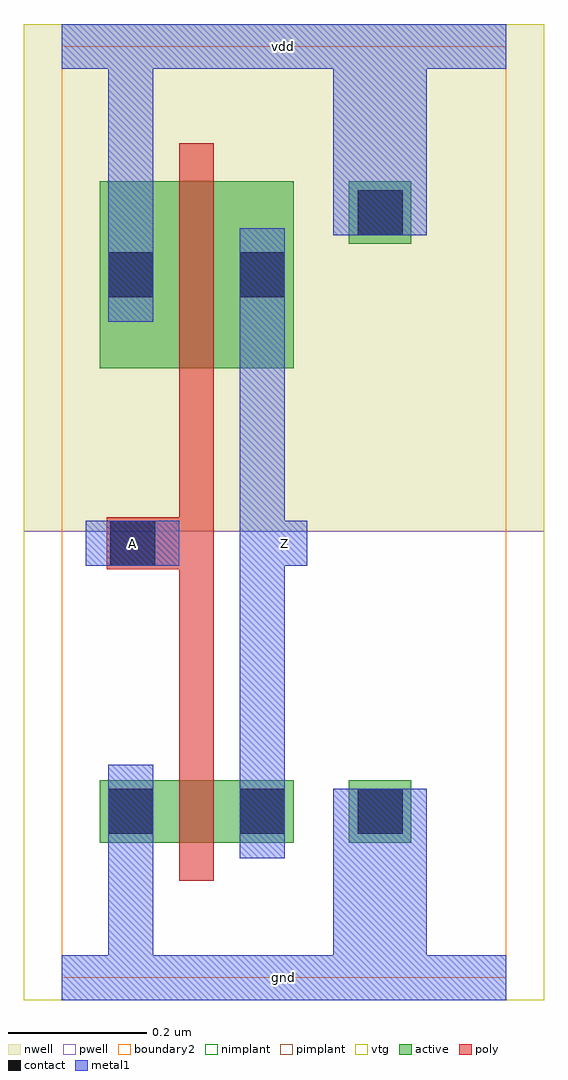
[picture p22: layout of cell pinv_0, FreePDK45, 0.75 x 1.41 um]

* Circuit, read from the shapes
.subckt pinv_0 A Z gnd vdd
M1 Z A gnd gnd nfet w=0.09u l=0.05u
M2 Z A vdd vdd pfet w=0.27u l=0.05u
.ends

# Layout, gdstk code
import gdstk
lib = gdstk.Library(unit=1e-6, precision=5e-10)
def R(c, l, rs):  # rectangles x0, y0, x1, y1
    for r in rs: c.add(gdstk.rectangle(r[:2], r[2:], *l))
active = (1, 0)
pwell = (2, 0)
nwell = (3, 0)
nimplant = (4, 0)
pimplant = (5, 0)
vtg = (6, 0)
poly = (9, 0)
contact = (10, 0)
metal1 = (11, 0)
boundary2 = (239, 0)

contact_11 = lib.new_cell('contact_11')
R(contact_11, active, [(0,0.0225,0.09,0.1125)])
R(contact_11, nwell, [(-0.055,-0.0325,0.145,0.1675)])
R(contact_11, pimplant, [(0,0.0225,0.09,0.1125)])
R(contact_11, contact, [(0.0125,0.035,0.0775,0.1)])
R(contact_11, metal1, [(0.0125,0,0.0775,0.135)])

pmos_m1_w0_270_a_p = lib.new_cell('pmos_m1_w0_270_a_p')
R(pmos_m1_w0_270_a_p, active, [(0,0,0.28,0.27)])
R(pmos_m1_w0_270_a_p, nwell, [(-0.055,-0.055,0.335,0.325)])
R(pmos_m1_w0_270_a_p, pimplant, [(0,0,0.28,0.27)])
R(pmos_m1_w0_270_a_p, vtg, [(-0.055,-0.055,0.335,0.325)])
R(pmos_m1_w0_270_a_p, poly, [(0.115,-0.055,0.165,0.325), (0.115,-0.055,0.165,0.325)])
R(pmos_m1_w0_270_a_p, metal1, [(0.0125,0.0675,0.0775,0.2025), (0.2025,0.0675,0.2675,0.2025)])
R(pmos_m1_w0_270_a_p, boundary2, [(-0.055,-0.055,0.335,0.325)])
pmos_m1_w0_270_a_p.add(gdstk.Reference(contact_11, (0,0.0675)))
pmos_m1_w0_270_a_p.add(gdstk.Reference(contact_11, (0.19,0.0675)))
pmos_m1_w0_270_a_p.add(gdstk.Label('G', (0.14,0.135), layer=9, texttype=0))
pmos_m1_w0_270_a_p.add(gdstk.Label('S', (0.045,0.135), layer=11, texttype=0))
pmos_m1_w0_270_a_p.add(gdstk.Label('D', (0.235,0.135), layer=11, texttype=0))

contact_16 = lib.new_cell('contact_16')
R(contact_16, active, [(0,0.0225,0.09,0.1125)])
R(contact_16, pwell, [(-0.055,-0.0325,0.145,0.1675)])
R(contact_16, nimplant, [(0,0.0225,0.09,0.1125)])
R(contact_16, contact, [(0.0125,0.035,0.0775,0.1)])
R(contact_16, metal1, [(0.0125,0,0.0775,0.135)])

nmos_m1_w0_090_a_p = lib.new_cell('nmos_m1_w0_090_a_p')
R(nmos_m1_w0_090_a_p, active, [(0,0,0.28,0.09)])
R(nmos_m1_w0_090_a_p, pwell, [(-0.055,-0.055,0.335,0.145)])
R(nmos_m1_w0_090_a_p, nimplant, [(0,0,0.28,0.09)])
R(nmos_m1_w0_090_a_p, vtg, [(-0.055,-0.055,0.335,0.145)])
R(nmos_m1_w0_090_a_p, poly, [(0.115,-0.055,0.165,0.145), (0.115,-0.055,0.165,0.145)])
R(nmos_m1_w0_090_a_p, metal1, [(0.0125,-0.0225,0.0775,0.1125), (0.2025,-0.0225,0.2675,0.1125)])
R(nmos_m1_w0_090_a_p, boundary2, [(-0.055,-0.055,0.335,0.145)])
nmos_m1_w0_090_a_p.add(gdstk.Reference(contact_16, (0,-0.0225)))
nmos_m1_w0_090_a_p.add(gdstk.Reference(contact_16, (0.19,-0.0225)))
nmos_m1_w0_090_a_p.add(gdstk.Label('G', (0.14,0.045), layer=9, texttype=0))
nmos_m1_w0_090_a_p.add(gdstk.Label('S', (0.045,0.045), layer=11, texttype=0))
nmos_m1_w0_090_a_p.add(gdstk.Label('D', (0.235,0.045), layer=11, texttype=0))

contact_13 = lib.new_cell('contact_13')
R(contact_13, active, [(0.0225,0,0.1125,0.09)])
R(contact_13, nwell, [(-0.0325,-0.055,0.1675,0.145)])
R(contact_13, nimplant, [(0.0225,0,0.1125,0.09)])
R(contact_13, contact, [(0.035,0.0125,0.1,0.0775)])
R(contact_13, metal1, [(0,0.0125,0.135,0.0775)])

contact_17 = lib.new_cell('contact_17')
R(contact_17, active, [(0.0225,0,0.1125,0.09)])
R(contact_17, pwell, [(-0.0325,-0.055,0.1675,0.145)])
R(contact_17, pimplant, [(0.0225,0,0.1125,0.09)])
R(contact_17, contact, [(0.035,0.0125,0.1,0.0775)])
R(contact_17, metal1, [(0,0.0125,0.135,0.0775)])

contact_12 = lib.new_cell('contact_12')
R(contact_12, poly, [(0.03,0,0.105,0.075)])
R(contact_12, contact, [(0.035,0.005,0.1,0.07)])
R(contact_12, metal1, [(0,0.005,0.135,0.07)])

pinv_0 = lib.new_cell('pinv_0')
R(pinv_0, pwell, [(-0.055,-0.0325,0.6975,0.645)])
R(pinv_0, nwell, [(-0.055,0.645,0.6975,1.3775)])
R(pinv_0, vtg, [(-0.055,-0.0325,0.6975,0.645), (-0.055,0.645,0.6975,1.3775)])
R(pinv_0, poly, [(0.17,0.34,0.22,0.825), (0.1025,0.59,0.17,0.665)])
R(pinv_0, metal1, [(0,-0.0325,0.6425,0.0325), (0.0675,-0.0325,0.1325,0.1725), (0.3925,0,0.5275,0.24), (0.2575,0.1725,0.3225,1.0825), (0.035,0.595,0.17,0.66), (0.29,0.595,0.355,0.66), (0.0675,0.9475,0.1325,1.3775), (0.3925,1.105,0.5275,1.345), (0,1.3125,0.6425,1.3775)])
R(pinv_0, boundary2, [(0,0,0.6425,1.345)])
pinv_0.add(gdstk.Reference(pmos_m1_w0_270_a_p, (0.055,0.88)))
pinv_0.add(gdstk.Reference(nmos_m1_w0_090_a_p, (0.055,0.195)))
pinv_0.add(gdstk.Reference(contact_13, (0.3925,1.06)))
pinv_0.add(gdstk.Reference(contact_17, (0.3925,0.195)))
pinv_0.add(gdstk.Reference(contact_12, (0.035,0.59)))
pinv_0.add(gdstk.Label('gnd', (0.321,0), layer=11, texttype=0))
pinv_0.add(gdstk.Label('vdd', (0.321,1.345), layer=11, texttype=0))
pinv_0.add(gdstk.Label('A', (0.1025,0.6275), layer=11, texttype=0))
pinv_0.add(gdstk.Label('Z', (0.3225,0.6275), layer=11, texttype=0))

lib.write_gds('pinv_0.gds')
